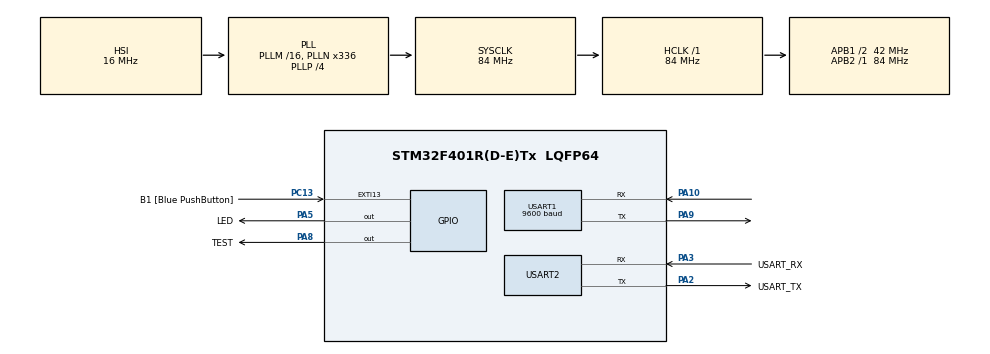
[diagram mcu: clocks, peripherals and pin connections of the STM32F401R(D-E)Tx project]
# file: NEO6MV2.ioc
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Mcu.Family=STM32F4
Mcu.Name=STM32F401R(D-E)Tx
Mcu.Package=LQFP64
NVIC.PriorityGroup=NVIC_PRIORITYGROUP_0
NVIC.USART1_IRQn=true\:0\:0\:false\:false\:true\:true\:true
NVIC.USART2_IRQn=true\:0\:0\:false\:false\:true\:true\:true
PA10.Mode=Asynchronous
PA10.Signal=USART1_RX
PA13.GPIO_Label=TMS
PA13.Mode=Serial_Wire
PA13.Signal=SYS_JTMS-SWDIO
PA14.GPIO_Label=TCK
PA14.Mode=Serial_Wire
PA14.Signal=SYS_JTCK-SWCLK
PA2.GPIO_Label=USART_TX
PA2.GPIO_Mode=GPIO_MODE_AF_PP
PA2.GPIO_PuPd=GPIO_NOPULL
PA2.GPIO_Speed=GPIO_SPEED_FREQ_LOW
PA2.Mode=Asynchronous
PA2.Signal=USART2_TX
PA3.GPIO_Label=USART_RX
PA3.GPIO_Mode=GPIO_MODE_AF_PP
PA3.GPIO_PuPd=GPIO_NOPULL
PA3.GPIO_Speed=GPIO_SPEED_FREQ_LOW
PA3.Mode=Asynchronous
PA3.Signal=USART2_RX
PA5.GPIO_Label=LED
PA5.GPIO_Mode=GPIO_MODE_OUTPUT_PP
PA5.GPIO_PuPd=GPIO_NOPULL
PA5.GPIO_Speed=GPIO_SPEED_FREQ_LOW
PA5.Signal=GPIO_Output
PA8.GPIO_Label=TEST
PA8.Signal=GPIO_Output
PA9.Mode=Asynchronous
PA9.Signal=USART1_TX
PB3.GPIO_Label=SWO
PB3.Signal=SYS_JTDO-SWO
PC13-ANTI_TAMP.GPIO_Label=B1 [Blue PushButton]
PC13-ANTI_TAMP.GPIO_ModeDefaultEXTI=GPIO_MODE_IT_FALLING
PC13-ANTI_TAMP.GPIO_PuPd=GPIO_NOPULL
PC13-ANTI_TAMP.Signal=GPXTI13
PC14-OSC32_IN.Mode=LSE-External-Oscillator
PC14-OSC32_IN.Signal=RCC_OSC32_IN
PC15-OSC32_OUT.Mode=LSE-External-Oscillator
PC15-OSC32_OUT.Signal=RCC_OSC32_OUT
PH0\ -\ OSC_IN.Mode=HSE-External-Clock-Source
PH0\ -\ OSC_IN.Signal=RCC_OSC_IN
PH1\ -\ OSC_OUT.Mode=HSE-External-Clock-Source
PH1\ -\ OSC_OUT.Signal=RCC_OSC_OUT
ProjectManager.HeapSize=0x200
ProjectManager.StackSize=0x400
ProjectManager.TargetToolchain=STM32CubeIDE
RCC.48MHZClocksFreq_Value=48000000
RCC.AHBFreq_Value=84000000
RCC.APB1CLKDivider=RCC_HCLK_DIV2
RCC.APB1Freq_Value=42000000
RCC.APB1TimFreq_Value=84000000
RCC.APB2Freq_Value=84000000
RCC.APB2TimFreq_Value=84000000
RCC.CortexFreq_Value=84000000
RCC.HCLKFreq_Value=84000000
RCC.HSE_VALUE=8000000
RCC.HSI_VALUE=16000000
RCC.PLLN=336
RCC.PLLP=RCC_PLLP_DIV4
RCC.PLLQ=7
RCC.SYSCLKFreq_VALUE=84000000
RCC.SYSCLKSource=RCC_SYSCLKSOURCE_PLLCLK
RCC.VCOOutputFreq_Value=336000000
USART1.BaudRate=9600
USART1.VirtualMode=VM_ASYNC
USART2.VirtualMode=VM_ASYNC
board=NUCLEO-F401RE

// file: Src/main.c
/* USER CODE BEGIN Header */
/**
  ******************************************************************************
  * @file           : main.c
  * @brief          : Main program body
  ******************************************************************************
  * @attention
  *
  * <h2><center>&copy; Copyright (c) 2019 STMicroelectronics.
  * All rights reserved.</center></h2>
  *
  * This software component is licensed by ST under BSD 3-Clause license,
  * the "License"; You may not use this file except in compliance with the
  * License. You may obtain a copy of the License at:
  *                        opensource.org/licenses/BSD-3-Clause
  *
  ******************************************************************************
  *
  *  Created on: 6.09.2019
  *      Author: Mateusz Salamon
  *		www.msalamon.pl
  *
  *      Website: https://msalamon.pl/lokalizacja-gps-przy-pomocy-neo6mv2-na-stm32/
  *      GitHub: https://github.com/lamik/GPS_NEO6_STM32_HAL
  *      Contact: mateusz@msalamon.pl
*/
/* USER CODE END Header */

#include "main.h"

/* USER CODE BEGIN Includes */
#include "gps_neo6.h"
#include "stdio.h"
/* USER CODE END Includes */

UART_HandleTypeDef huart1;
UART_HandleTypeDef huart2;

/* USER CODE BEGIN PV */
uint8_t Message[64];
uint8_t MessageLength;
/* USER CODE END PV */

void SystemClock_Config(void);
static void MX_GPIO_Init(void);
static void MX_USART2_UART_Init(void);
static void MX_USART1_UART_Init(void);

int main(void)
{

  /* MCU Configuration--------------------------------------------------------*/

  /* Reset of all peripherals, Initializes the Flash interface and the Systick. */
  HAL_Init();

  /* Configure the system clock */
  SystemClock_Config();

  /* Initialize all configured peripherals */
  MX_GPIO_Init();
  MX_USART2_UART_Init();
  MX_USART1_UART_Init();
  /* USER CODE BEGIN 2 */
  NEO6_Init(&GpsState, &huart1);

  uint32_t Timer = HAL_GetTick();
  /* USER CODE END 2 */

  /* Infinite loop */
  /* USER CODE BEGIN WHILE */
  while (1)
  {
	  NEO6_Task(&GpsState);

	  if((HAL_GetTick() - Timer) > 1000)
	  {
		  MessageLength = sprintf((char*)Message, "\033[2J\033[;H"); // Clear terminal and home cursor
		  HAL_UART_Transmit(&huart2, Message, MessageLength, 1000);

		  if(NEO6_IsFix(&GpsState))
		  {
			  MessageLength = sprintf((char*)Message, "UTC Time: %02d:%02d:%02d\n\r", GpsState.Hour, GpsState.Minute, GpsState.Second);
			  HAL_UART_Transmit(&huart2, Message, MessageLength, 1000);

			  MessageLength = sprintf((char*)Message, "Date: %02d.%02d.20%02d\n\r", GpsState.Day, GpsState.Month, GpsState.Year);
			  HAL_UART_Transmit(&huart2, Message, MessageLength, 1000);

			  MessageLength = sprintf((char*)Message, "Latitude: %.2f %c\n\r", GpsState.Latitude, GpsState.LatitudeDirection);
			  HAL_UART_Transmit(&huart2, Message, MessageLength, 1000);

			  MessageLength = sprintf((char*)Message, "Longitude: %.2f %c\n\r", GpsState.Longitude, GpsState.LongitudeDirection);
			  HAL_UART_Transmit(&huart2, Message, MessageLength, 1000);

			  MessageLength = sprintf((char*)Message, "Altitude: %.2f m above sea level\n\r", GpsState.Altitude);
			  HAL_UART_Transmit(&huart2, Message, MessageLength, 1000);

			  MessageLength = sprintf((char*)Message, "Speed: %.2f knots, %f km/h\n\r", GpsState.SpeedKnots, GpsState.SpeedKilometers);
			  HAL_UART_Transmit(&huart2, Message, MessageLength, 1000);

			  MessageLength = sprintf((char*)Message, "Satelites: %d\n\r", GpsState.SatelitesNumber);
			  HAL_UART_Transmit(&huart2, Message, MessageLength, 1000);

			  MessageLength = sprintf((char*)Message, "Dilution of precision: %.2f\n\r", GpsState.Dop);
			  HAL_UART_Transmit(&huart2, Message, MessageLength, 1000);

			  MessageLength = sprintf((char*)Message, "Horizontal dilution of precision: %.2f\n\r", GpsState.Hdop);
			  HAL_UART_Transmit(&huart2, Message, MessageLength, 1000);

			  MessageLength = sprintf((char*)Message, "Vertical dilution of precision: %.2f\n\r", GpsState.Vdop);
			  HAL_UART_Transmit(&huart2, Message, MessageLength, 1000);
		  }
		  else
		  {
			  MessageLength = sprintf((char*)Message, "No Fix\n\r");
			  HAL_UART_Transmit(&huart2, Message, MessageLength, 1000);
		  }

		  Timer = HAL_GetTick();
	  }
    /* USER CODE END WHILE */

  }
}

void SystemClock_Config(void)
{
  RCC_OscInitTypeDef RCC_OscInitStruct = {0};
  RCC_ClkInitTypeDef RCC_ClkInitStruct = {0};

  /** Configure the main internal regulator output voltage
  */
  __HAL_RCC_PWR_CLK_ENABLE();
  __HAL_PWR_VOLTAGESCALING_CONFIG(PWR_REGULATOR_VOLTAGE_SCALE2);
  /** Initializes the CPU, AHB and APB busses clocks
  */
  RCC_OscInitStruct.OscillatorType = RCC_OSCILLATORTYPE_HSI;
  RCC_OscInitStruct.HSIState = RCC_HSI_ON;
  RCC_OscInitStruct.HSICalibrationValue = RCC_HSICALIBRATION_DEFAULT;
  RCC_OscInitStruct.PLL.PLLState = RCC_PLL_ON;
  RCC_OscInitStruct.PLL.PLLSource = RCC_PLLSOURCE_HSI;
  RCC_OscInitStruct.PLL.PLLM = 16;
  RCC_OscInitStruct.PLL.PLLN = 336;
  RCC_OscInitStruct.PLL.PLLP = RCC_PLLP_DIV4;
  RCC_OscInitStruct.PLL.PLLQ = 7;
  if (HAL_RCC_OscConfig(&RCC_OscInitStruct) != HAL_OK)
  {
    Error_Handler();
  }
  /** Initializes the CPU, AHB and APB busses clocks
  */
  RCC_ClkInitStruct.ClockType = RCC_CLOCKTYPE_HCLK|RCC_CLOCKTYPE_SYSCLK
                              |RCC_CLOCKTYPE_PCLK1|RCC_CLOCKTYPE_PCLK2;
  RCC_ClkInitStruct.SYSCLKSource = RCC_SYSCLKSOURCE_PLLCLK;
  RCC_ClkInitStruct.AHBCLKDivider = RCC_SYSCLK_DIV1;
  RCC_ClkInitStruct.APB1CLKDivider = RCC_HCLK_DIV2;
  RCC_ClkInitStruct.APB2CLKDivider = RCC_HCLK_DIV1;

  if (HAL_RCC_ClockConfig(&RCC_ClkInitStruct, FLASH_LATENCY_2) != HAL_OK)
  {
    Error_Handler();
  }
}

static void MX_USART1_UART_Init(void)
{

  huart1.Instance = USART1;
  huart1.Init.BaudRate = 9600;
  huart1.Init.WordLength = UART_WORDLENGTH_8B;
  huart1.Init.StopBits = UART_STOPBITS_1;
  huart1.Init.Parity = UART_PARITY_NONE;
  huart1.Init.Mode = UART_MODE_TX_RX;
  huart1.Init.HwFlowCtl = UART_HWCONTROL_NONE;
  huart1.Init.OverSampling = UART_OVERSAMPLING_16;
  if (HAL_UART_Init(&huart1) != HAL_OK)
  {
    Error_Handler();
  }

}

static void MX_USART2_UART_Init(void)
{

  huart2.Instance = USART2;
  huart2.Init.BaudRate = 115200;
  huart2.Init.WordLength = UART_WORDLENGTH_8B;
  huart2.Init.StopBits = UART_STOPBITS_1;
  huart2.Init.Parity = UART_PARITY_NONE;
  huart2.Init.Mode = UART_MODE_TX_RX;
  huart2.Init.HwFlowCtl = UART_HWCONTROL_NONE;
  huart2.Init.OverSampling = UART_OVERSAMPLING_16;
  if (HAL_UART_Init(&huart2) != HAL_OK)
  {
    Error_Handler();
  }

}

static void MX_GPIO_Init(void)
{
  GPIO_InitTypeDef GPIO_InitStruct = {0};

  /* GPIO Ports Clock Enable */
  __HAL_RCC_GPIOC_CLK_ENABLE();
  __HAL_RCC_GPIOH_CLK_ENABLE();
  __HAL_RCC_GPIOA_CLK_ENABLE();
  __HAL_RCC_GPIOB_CLK_ENABLE();

  /*Configure GPIO pin Output Level */
  HAL_GPIO_WritePin(GPIOA, LED_Pin|TEST_Pin, GPIO_PIN_RESET);

  /*Configure GPIO pin : B1_Pin */
  GPIO_InitStruct.Pin = B1_Pin;
  GPIO_InitStruct.Mode = GPIO_MODE_IT_FALLING;
  GPIO_InitStruct.Pull = GPIO_NOPULL;
  HAL_GPIO_Init(B1_GPIO_Port, &GPIO_InitStruct);

  /*Configure GPIO pins : LED_Pin TEST_Pin */
  GPIO_InitStruct.Pin = LED_Pin|TEST_Pin;
  GPIO_InitStruct.Mode = GPIO_MODE_OUTPUT_PP;
  GPIO_InitStruct.Pull = GPIO_NOPULL;
  GPIO_InitStruct.Speed = GPIO_SPEED_FREQ_LOW;
  HAL_GPIO_Init(GPIOA, &GPIO_InitStruct);

}

/* USER CODE BEGIN 4 */
void HAL_UART_RxCpltCallback(UART_HandleTypeDef *huart)
{
	if(huart == GpsState.neo6_huart)
	{
		NEO6_ReceiveUartChar(&GpsState);
	}
}
/* USER CODE END 4 */

void Error_Handler(void)
{
}

/************************ (C) COPYRIGHT STMicroelectronics *****END OF FILE****/
